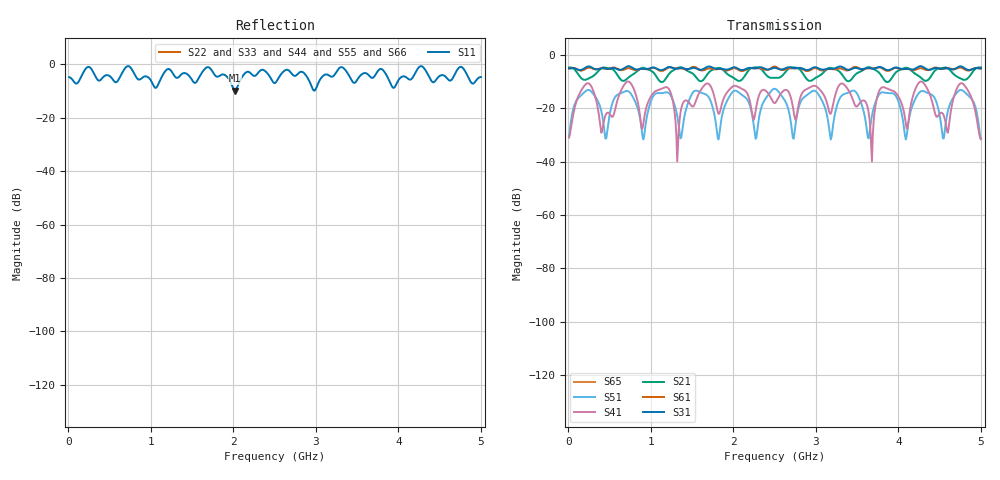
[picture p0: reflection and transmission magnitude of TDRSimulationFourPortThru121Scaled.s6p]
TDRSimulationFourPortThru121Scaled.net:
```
device T1 2 tline zc 60.0 td 5e-10
voltagesource VG1 1
device T2 2 tline zc 55.0 td 1e-09
device T3 2 tline zc 55.0 td 4e-10
device T4 2 tline zc 35.0 td 1.1e-09
device D9 2 voltageamplifier gain 1.0 zi 100000000.0 zo 40.0
device D10 2 voltageamplifier gain 1.0 zi 100000000.0 zo 55.0
device R3 1 R 50.0
device D15 3 directionalcoupler
device D16 3 directionalcoupler
device R4 1 R 50.0
device R5 1 R 50.0
device D17 3 directionalcoupler
device D18 3 directionalcoupler
device R6 1 R 50.0
device T5 2 tline zc 50.0 td 1e-10
device G1 1 ground
connect D16 1 T1 1
connect T1 2 T5 1
output D15 1
connect D15 1 T2 2
connect VG1 1 D9 1
connect T2 1 D9 2
connect D18 1 T3 1
connect T5 2 T3 2
output T4 2
connect T4 2 D17 1
connect D10 2 T4 1
connect D10 1 G1 1
output R3 1
connect R3 1 D15 3
connect D16 2 D15 2
output D16 3
connect D16 3 R4 1
output R5 1
connect R5 1 D17 3
connect D17 2 D18 2
output D18 3
connect D18 3 R6 1
```
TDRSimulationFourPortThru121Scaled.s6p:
# MHz MA S R 50.0
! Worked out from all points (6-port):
!   500 points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, 10 MHz to 5 GHz, reference 50 ohm
!   strongest paths, dB at 10 MHz, 1.26 GHz, 2.51 GHz, 3.76 GHz, 5 GHz:
!     S31: -5.1, -4.9, -4.9, -4.6, -5.2
!     S61: -5.1, -4.9, -4.5, -4.7, -5.2
!     S21: -4.7, -6.1, -8.6, -6.5, -4.7
!     S41: -31.0, -16.3, -18.0, -14.2, -31.6
!     S51: -30.3, -16.4, -12.8, -15.2, -31.6
!     S65: -, -, -, -, -
!   lowest |S11| = -9.9 dB at 2.02 GHz (marker M1), VSWR 1.94, Z = 96.5 - j7 ohm
!   |S11| at or under -10 dB: nowhere
